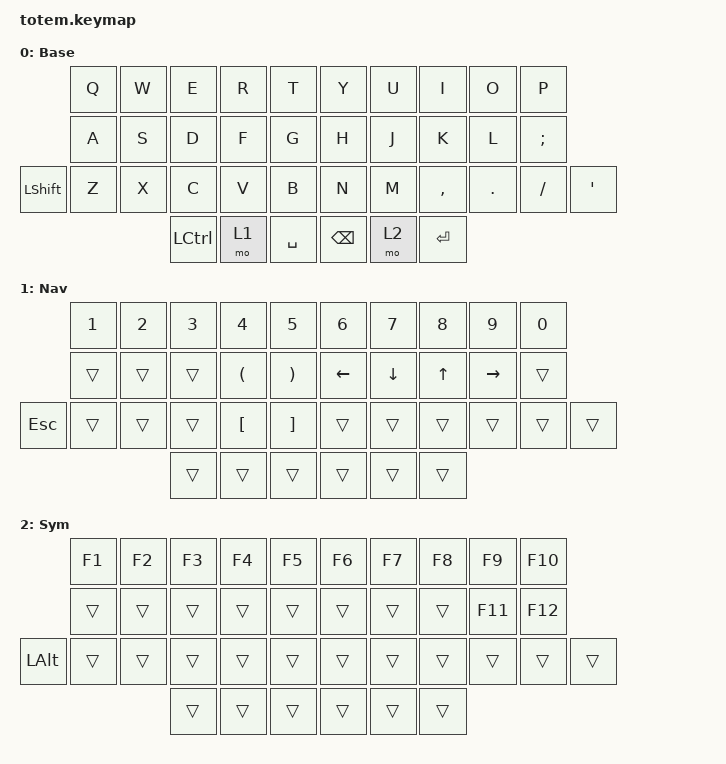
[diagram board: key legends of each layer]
//
//                                                        ▀▀▀▀▀     ▀▀▀▀▀          ▀▀█▀▀
//                                                        ▄▀▀▀▄  ▄  ▄▀▀▀▄  ▄  ▄▀▀▀▄  █  ▄▀▀▀▄
//                                                        █   █  █  █   █  █  █   █  █  █   █
//                                                         ▀▀▀   █   ▀▀▀   █   ▀▀▀   ▀   ▀▀▀
//                                                               █      ▄▄▄█▄▄▄    █   █  
//                                                               ▀      █  █  █     █▄█
//                                                             ▀▀▀▀▀    █  █  █      ▀
//                                                                      ▀  ▀  ▀
//
// ▄▄▄▄▄▄▄▄▄▄▄▄▄▄▄▄▄▄▄▄▄▄▄▄▄▄▄▄▄▄▄▄▄▄▄▄▄▄▄▄▄▄▄▄▄▄▄▄▄▄▄▄▄▄▄▄▄▄▄▄▄▄▄▄▄▄▄▄▄▄▄▄▄▄▄▄▄▄▄▄▄▄▄▄▄▄▄▄▄▄▄▄▄▄▄▄▄▄▄▄▄▄▄▄▄▄▄▄▄▄▄▄▄▄▄▄▄▄▄▄▄▄▄▄▄▄▄▄▄▄▄▄▄▄▄▄▄▄▄▄▄▄▄▄▄▄▄▄▄

#include <behaviors.dtsi>
#include <dt-bindings/zmk/bt.h>
#include <dt-bindings/zmk/ext_power.h>
#include <dt-bindings/zmk/keys.h>

#define Base        0
#define Nav         1
#define Sym         2


&mt {
    quick-tap-ms = <100>;
    global-quick-tap;
    flavor = "tap-preferred";
    tapping-term-ms = <170>;
};

&lt {
    tapping-term-ms = <240>;
    flavor = "balanced";
    quick-tap-ms = <150>;
};

/ {
    behaviors {
        hm: homerow_mods {
            compatible = "zmk,behavior-hold-tap";
            label = "HOMEROW_MODS";
            #binding-cells = <2>;
            flavor = "tap-preferred";
            tapping-term-ms = <200>;
            quick-tap-ms = <125>;
            global-quick-tap;
            bindings = <&kp>, <&kp>;
        };
    };

    combos { compatible = "zmk,combos"; };

    keymap {
        compatible = "zmk,keymap";

        Base {
            label = "Base";
            bindings = <
              &kp Q  &kp W  &kp E  &kp R           &kp T        &kp Y          &kp U         &kp I      &kp O    &kp P
              &kp A  &kp S  &kp D  &kp F           &kp G        &kp H          &kp J         &kp K      &kp L    &kp SEMICOLON
&kp LEFT_SHIFT &kp Z  &kp X  &kp C  &kp V         &kp B        &kp N          &kp M         &kp COMMA  &kp DOT  &kp SLASH      &kp APOSTROPHE
                            &kp LEFT_CONTROL &mo 1   &kp SPACE    &kp BACKSPACE     &mo 2   &kp RETURN
            >;
        };

        Nav {
            label = "Nav";
            bindings = <
            &kp NUMBER_1    &kp NUMBER_2  &kp NUMBER_3  &kp NUMBER_4  &kp NUMBER_5 &kp NUMBER_6  &kp NUMBER_7  &kp NUMBER_8   &kp NUMBER_9    &kp NUMBER_0
            &trans       &trans    &trans      &kp LEFT_PARENTHESIS      &kp RIGHT_PARENTHESIS     &kp LEFT_ARROW      &kp DOWN_ARROW      &kp UP_ARROW       &kp RIGHT_ARROW        &trans
&kp ESC     &trans       &trans    &trans      &kp LEFT_BRACKET      &kp RIGHT_BRACKET      &trans        &trans      &trans       &trans        &trans  &trans
                                            &trans        &trans        &trans       &trans        &trans         &trans
            >;
        };

        Sym {
            label = "Sym";
            bindings = <
        &kp F1  &kp F2  &kp F3  &kp F4  &kp F5    &kp F6  &kp F7  &kp F8  &kp F9  &kp F10
        &trans    &trans  &trans    &trans      &trans         &trans     &trans         &trans           &kp F11   &kp F12
&kp LEFT_ALT  &trans    &trans  &trans    &trans      &trans         &trans  &trans      &trans           &trans   &trans   &trans 
                          &trans    &trans      &trans         &trans     &trans         &trans
            >;
        };
    };
};
